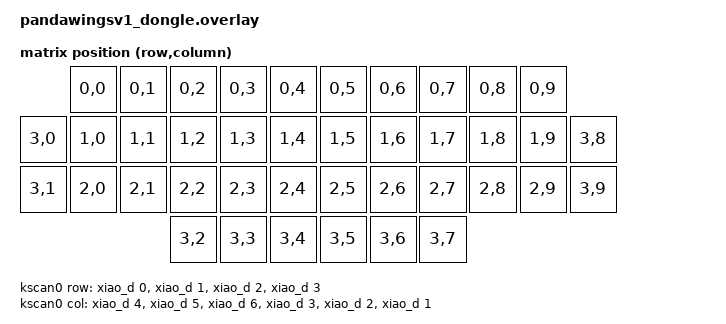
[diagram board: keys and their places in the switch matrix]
#include <dt-bindings/zmk/matrix_transform.h>
// thanks to: https://github.com/aroum/zmk-enki42-dongle

/ {
  chosen {
    zmk,kscan = &kscan0;
    zmk,matrix-transform = &default_transform;
  };

  default_transform: keymap_transform_0 {
    compatible = "zmk,matrix-transform";
    columns = <10>;
    rows = <4>;
//        | SW2  | SW3  | SW4  | SW5  | SW6  |  | SW27 | SW26 | SW25 | SW24 | SW23 | 
// | SW7  | SW8  | SW9  | SW10 | SW11 | SW12 |  | SW33 | SW32 | SW31 | SW30 | SW29 | SW34 |
// | SW13 | SW14 | SW15 | SW16 | SW17 | SW18 |  | SW39 | SW38 | SW37 | SW36 | SW35 | SW28 |
//                      | SW19 | SW20 | SW21 |  | SW42 | SW41 | SW40 |

// due to a wrong switch position in the pcb on the right half, SW34 and SW28 needed to be fliped

    map = <
              RC(0,0) RC(0,1) RC(0,2) RC(0,3) RC(0,4)  RC(0,5) RC(0,6) RC(0,7) RC(0,8) RC(0,9)
      RC(3,0) RC(1,0) RC(1,1) RC(1,2) RC(1,3) RC(1,4)  RC(1,5) RC(1,6) RC(1,7) RC(1,8) RC(1,9) RC(3,8)
      RC(3,1) RC(2,0) RC(2,1) RC(2,2) RC(2,3) RC(2,4)  RC(2,5) RC(2,6) RC(2,7) RC(2,8) RC(2,9) RC(3,9)
                              RC(3,2) RC(3,3) RC(3,4)  RC(3,5) RC(3,6) RC(3,7)
    >;
  };

  kscan0: kscan {
      compatible = "zmk,kscan-gpio-matrix";

      diode-direction = "col2row";
      row-gpios
        = <&xiao_d 0 (GPIO_ACTIVE_HIGH | GPIO_PULL_DOWN)>
        , <&xiao_d 1 (GPIO_ACTIVE_HIGH | GPIO_PULL_DOWN)>
        , <&xiao_d 2 (GPIO_ACTIVE_HIGH | GPIO_PULL_DOWN)>
        , <&xiao_d 3 (GPIO_ACTIVE_HIGH | GPIO_PULL_DOWN)>
      ;
    };
  };

&xiao_spi { status = "disabled"; };
&xiao_i2c { status = "disabled"; };
&xiao_serial { status = "disabled"; };

&kscan0 {
  col-gpios
    = <&xiao_d 4 GPIO_ACTIVE_HIGH>
    , <&xiao_d 5 GPIO_ACTIVE_HIGH>
    , <&xiao_d 6 GPIO_ACTIVE_HIGH>
    , <&xiao_d 3 GPIO_ACTIVE_HIGH>
    , <&xiao_d 2 GPIO_ACTIVE_HIGH>
    , <&xiao_d 1 GPIO_ACTIVE_HIGH>
  ;
};
